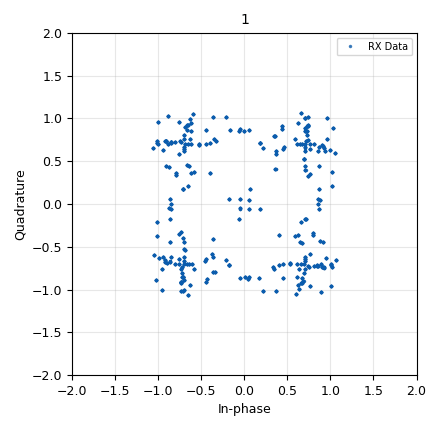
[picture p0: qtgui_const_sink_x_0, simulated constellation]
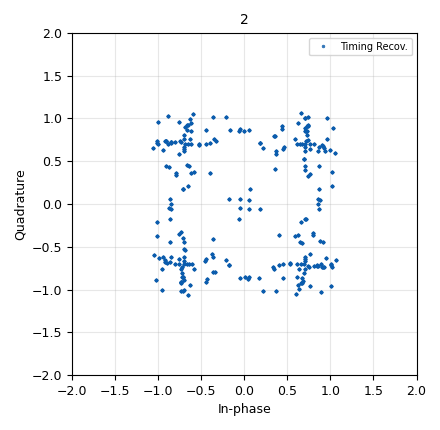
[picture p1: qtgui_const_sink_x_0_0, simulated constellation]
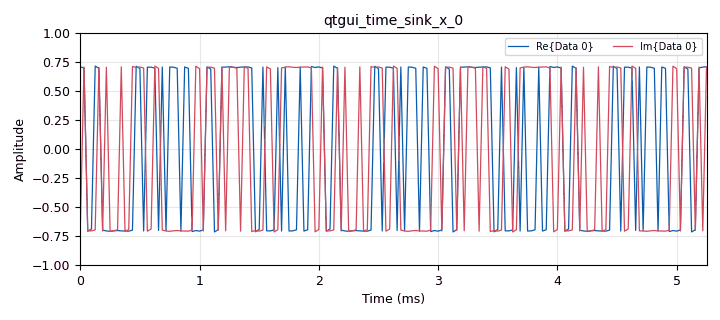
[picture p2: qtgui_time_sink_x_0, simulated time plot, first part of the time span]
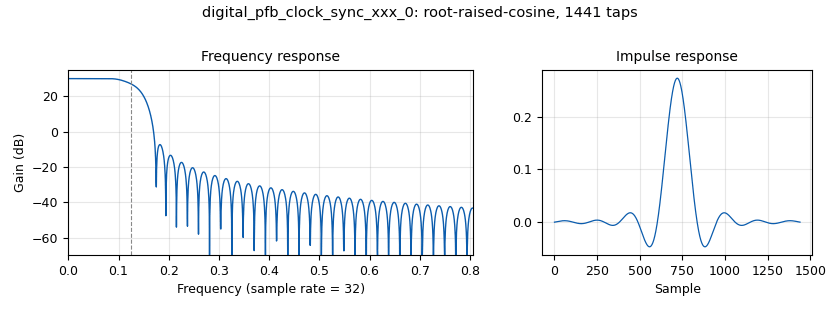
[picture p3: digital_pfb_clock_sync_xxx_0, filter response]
options:
  parameters:
    category: Custom
    generate_options: qt_gui
    id: mpsk_stage3
    output_language: python
  states: {}

blocks:
- name: arity
  id: variable
  parameters:
    value: '4'
  states: {}
- name: excess_bw
  id: variable
  parameters:
    value: '0.35'
  states: {}
- name: freq_offset
  id: variable_qtgui_range
  parameters:
    gui_hint: 0,1,1,1
    label: Frequency Offset
    start: '-0.1'
    step: '0.001'
    stop: '0.1'
    value: '0'
  states: {}
- name: nfilts
  id: variable
  parameters:
    value: '32'
  states: {}
- name: noise_volt
  id: variable_qtgui_range
  parameters:
    gui_hint: 0,0,1,1
    label: Noise Voltage
    start: '0'
    step: '0.01'
    stop: '1'
    value: '0.0001'
  states: {}
- name: qpsk
  id: variable_constellation_rect
  parameters:
    const_points: '[0.707+0.707j, -0.707+0.707j, -0.707-0.707j, 0.707-0.707j]'
    imag_sect: '2'
    real_sect: '2'
    rot_sym: '4'
    sym_map: '[0, 1, 2, 3]'
    w_imag_sect: '1'
    w_real_sect: '1'
  states: {}
- name: rrc_taps
  id: variable
  parameters:
    value: firdes.root_raised_cosine(nfilts, nfilts, 1.0/float(sps), 0.35, 45*nfilts)
  states: {}
- name: samp_rate
  id: variable
  parameters:
    value: '32000'
  states: {}
- name: sps
  id: variable
  parameters:
    value: '4'
  states: {}
- name: taps
  id: variable
  parameters:
    value: '[1.0, 0.25-0.25j, 0.50 + 0.10j, -0.3 + 0.2j]'
  states: {state: disabled}
- name: taps
  id: variable
  parameters:
    value: '[1.0 + 0.0j, ]'
  states: {}
- name: time_offset
  id: variable_qtgui_range
  parameters:
    gui_hint: 0,2,1,1
    label: Timing Offset
    start: '0.999'
    step: '0.0001'
    stop: '1.001'
    value: '1.00'
  states: {}
- name: timing_loop_bw
  id: variable_qtgui_range
  parameters:
    gui_hint: 0,3,1,1
    label: 'Time: BW'
    start: '0.0'
    step: '0.01'
    stop: '0.2'
    value: 6.28/100.0
    widget: slider
  states: {}
- name: analog_random_source_x_0
  id: analog_random_source_x
  parameters:
    max: '256'
    min: '0'
    num_samps: '4'
    repeat: 'True'
    type: byte
  states: {}
- name: blocks_throttle_0
  id: blocks_throttle
  parameters:
    samples_per_second: samp_rate
    type: complex
  states: {}
- name: channels_channel_model_0
  id: channels_channel_model
  parameters:
    epsilon: time_offset
    freq_offset: freq_offset
    noise_voltage: noise_volt
    seed: '0'
    taps: taps
  states: {}
- name: digital_constellation_modulator_0
  id: digital_constellation_modulator
  parameters:
    constellation: qpsk
    differential: 'True'
    excess_bw: excess_bw
    samples_per_symbol: sps
  states: {}
- name: digital_pfb_clock_sync_xxx_0
  id: digital_pfb_clock_sync_xxx
  parameters:
    filter_size: nfilts
    init_phase: nfilts/2
    loop_bw: timing_loop_bw
    max_dev: '1.5'
    osps: '1'
    sps: sps*1.001
    taps: rrc_taps
    type: ccf
  states: {}
- name: qtgui_const_sink_x_0
  id: qtgui_const_sink_x
  parameters:
    alpha1: '0.5'
    gui_hint: 1,0,1,2
    label1: RX Data
    name: '1'
    size: '2048'
    type: complex
  states: {}
- name: qtgui_const_sink_x_0_0
  id: qtgui_const_sink_x
  parameters:
    alpha1: '0.5'
    gui_hint: 1,2,1,2
    label1: Timing Recov.
    name: '2'
    size: '2048'
    type: complex
  states: {}
- name: qtgui_time_sink_x_0
  id: qtgui_time_sink_x
  parameters:
    size: '1024'
    srate: samp_rate
    type: complex
  states: {}

connections:
- [analog_random_source_x_0, '0', digital_constellation_modulator_0, '0']
- [blocks_throttle_0, '0', channels_channel_model_0, '0']
- [channels_channel_model_0, '0', digital_pfb_clock_sync_xxx_0, '0']
- [channels_channel_model_0, '0', qtgui_const_sink_x_0, '0']
- [digital_constellation_modulator_0, '0', blocks_throttle_0, '0']
- [digital_constellation_modulator_0, '0', qtgui_const_sink_x_0_0, '0']
- [digital_pfb_clock_sync_xxx_0, '0', qtgui_time_sink_x_0, '0']

metadata:
  file_format: 1
  grc_version: 3.10.6.0
